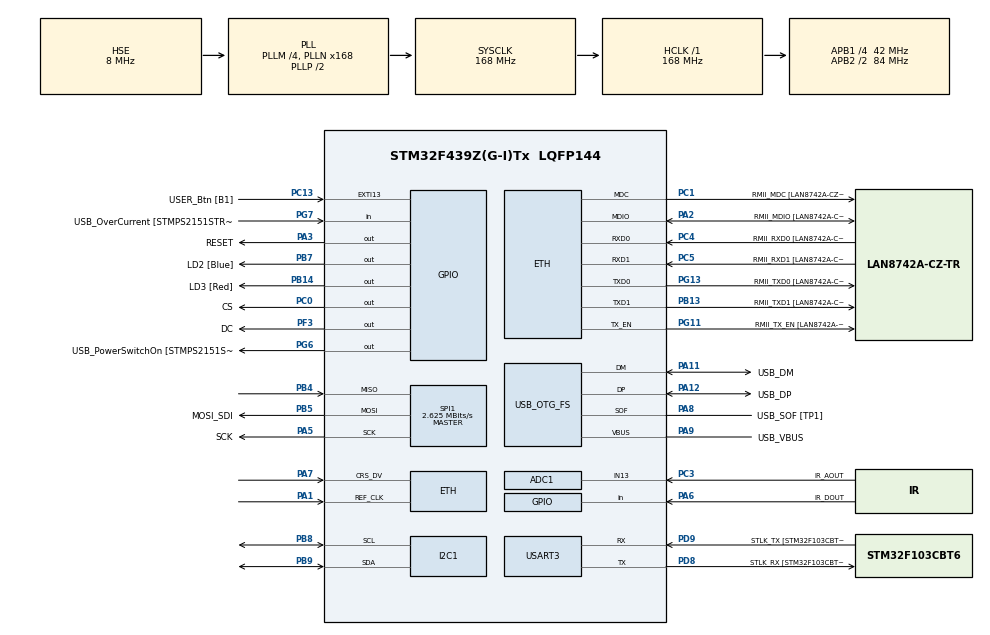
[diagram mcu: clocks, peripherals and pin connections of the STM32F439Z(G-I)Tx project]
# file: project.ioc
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ADC1.Channel-0\#ChannelRegularConversion=ADC_CHANNEL_13
ADC1.NbrOfConversionFlag=1
ADC1.Rank-0\#ChannelRegularConversion=1
ADC1.SamplingTime-0\#ChannelRegularConversion=ADC_SAMPLETIME_3CYCLES
ADC1.master=1
ETH.MediaInterface=HAL_ETH_RMII_MODE
LWIP.BSP.number=1
LWIP.LWIP_DNS=1
LWIP.Version=v2.1.2_Cube
LWIP0.BSP.STBoard=false
LWIP0.BSP.api=BSP_COMPONENT_DRIVER
LWIP0.BSP.component=LAN8742
LWIP0.BSP.instance=LAN8742
LWIP0.BSP.name=Driver_PHY
LWIP0.BSP.semaphore=S_LAN8742
LWIP0.BSP.solution=LAN8742
Mcu.Family=STM32F4
Mcu.Name=STM32F439Z(G-I)Tx
Mcu.Package=LQFP144
NVIC.ETH_IRQn=true\:0\:0\:false\:false\:true\:true\:true\:true
NVIC.I2C1_ER_IRQn=true\:0\:0\:false\:false\:true\:true\:true\:true
NVIC.I2C1_EV_IRQn=true\:0\:0\:false\:false\:true\:true\:true\:true
NVIC.PriorityGroup=NVIC_PRIORITYGROUP_4
PA1.Mode=RMII
PA1.Signal=ETH_REF_CLK
PA10.GPIO_Label=USB_ID
PA10.Signal=USB_OTG_FS_ID
PA11.GPIO_Label=USB_DM
PA11.Mode=Device_Only
PA11.Signal=USB_OTG_FS_DM
PA12.GPIO_Label=USB_DP
PA12.Mode=Device_Only
PA12.Signal=USB_OTG_FS_DP
PA13.GPIO_Label=TMS
PA13.Mode=Serial_Wire
PA13.Signal=SYS_JTMS-SWDIO
PA14.GPIO_Label=TCK
PA14.Mode=Serial_Wire
PA14.Signal=SYS_JTCK-SWCLK
PA2.GPIO_Label=RMII_MDIO [LAN8742A-CZ-TR_MDIO]
PA2.Mode=RMII
PA2.Signal=ETH_MDIO
PA3.GPIO_Label=RESET
PA3.GPIO_Speed=GPIO_SPEED_FREQ_HIGH
PA3.Signal=GPIO_Output
PA5.GPIO_Label=SCK
PA5.Mode=Full_Duplex_Master
PA5.Signal=SPI1_SCK
PA6.GPIO_Label=IR_DOUT
PA6.Signal=GPIO_Input
PA7.Mode=RMII
PA7.Signal=ETH_CRS_DV
PA8.GPIO_Label=USB_SOF [TP1]
PA8.Mode=Activate_SOF_FS
PA8.Signal=USB_OTG_FS_SOF
PA9.GPIO_Label=USB_VBUS
PA9.Mode=Activate_VBUS
PA9.Signal=USB_OTG_FS_VBUS
PB13.GPIO_Label=RMII_TXD1 [LAN8742A-CZ-TR_TXD1]
PB13.Mode=RMII
PB13.Signal=ETH_TXD1
PB14.GPIO_Label=LD3 [Red]
PB14.Signal=GPIO_Output
PB4.Mode=Full_Duplex_Master
PB4.Signal=SPI1_MISO
PB5.GPIO_Label=MOSI_SDI
PB5.Mode=Full_Duplex_Master
PB5.Signal=SPI1_MOSI
PB7.GPIO_Label=LD2 [Blue]
PB7.Signal=GPIO_Output
PB8.Mode=I2C
PB8.Signal=I2C1_SCL
PB9.Mode=I2C
PB9.Signal=I2C1_SDA
PC0.GPIO_Label=CS
PC0.GPIO_Speed=GPIO_SPEED_FREQ_HIGH
PC0.Signal=GPIO_Output
PC1.GPIO_Label=RMII_MDC [LAN8742A-CZ-TR_MDC]
PC1.Mode=RMII
PC1.Signal=ETH_MDC
PC13.GPIO_Label=USER_Btn [B1]
PC13.Signal=GPXTI13
PC14/OSC32_IN.Signal=RCC_OSC32_IN
PC15/OSC32_OUT.Signal=RCC_OSC32_OUT
PC3.GPIO_Label=IR_AOUT
PC3.Signal=ADCx_IN13
PC4.GPIO_Label=RMII_RXD0 [LAN8742A-CZ-TR_RXD0]
PC4.Mode=RMII
PC4.Signal=ETH_RXD0
PC5.GPIO_Label=RMII_RXD1 [LAN8742A-CZ-TR_RXD1]
PC5.Mode=RMII
PC5.Signal=ETH_RXD1
PD8.GPIO_Label=STLK_RX [STM32F103CBT6_PA3]
PD8.Mode=Asynchronous
PD8.Signal=USART3_TX
PD9.GPIO_Label=STLK_TX [STM32F103CBT6_PA2]
PD9.Mode=Asynchronous
PD9.Signal=USART3_RX
PF3.GPIO_Label=DC
PF3.Signal=GPIO_Output
PG11.GPIO_Label=RMII_TX_EN [LAN8742A-CZ-TR_TXEN]
PG11.Mode=RMII
PG11.Signal=ETH_TX_EN
PG13.GPIO_Label=RMII_TXD0 [LAN8742A-CZ-TR_TXD0]
PG13.Mode=RMII
PG13.Signal=ETH_TXD0
PG6.GPIO_Label=USB_PowerSwitchOn [STMPS2151STR_EN]
PG6.Signal=GPIO_Output
PG7.GPIO_Label=USB_OverCurrent [STMPS2151STR_FAULT]
PG7.Signal=GPIO_Input
PH0/OSC_IN.GPIO_Label=MCO [STM32F103CBT6_PA8]
PH0/OSC_IN.Mode=HSE-External-Oscillator
PH0/OSC_IN.Signal=RCC_OSC_IN
PH1/OSC_OUT.Mode=HSE-External-Oscillator
PH1/OSC_OUT.Signal=RCC_OSC_OUT
ProjectManager.HeapSize=0x200
ProjectManager.StackSize=0x400
ProjectManager.TargetToolchain=STM32CubeIDE
RCC.48MHZClocksFreq_Value=48000000
RCC.AHBFreq_Value=168000000
RCC.APB1CLKDivider=RCC_HCLK_DIV4
RCC.APB1Freq_Value=42000000
RCC.APB1TimFreq_Value=84000000
RCC.APB2CLKDivider=RCC_HCLK_DIV2
RCC.APB2Freq_Value=84000000
RCC.APB2TimCLKDivider=2
RCC.APB2TimFreq_Value=168000000
RCC.CortexFreq_Value=168000000
RCC.HCLKFreq_Value=168000000
RCC.HSE_VALUE=8000000
RCC.HSI_VALUE=16000000
RCC.LSE_VALUE=32768
RCC.PLLM=4
RCC.PLLMUL=RCC_PLL_MUL9
RCC.PLLN=168
RCC.PLLQ=7
RCC.PRESCALERUSB=RCC_USBCLKSOURCE_PLL_DIV1_5
RCC.SYSCLKFreq_VALUE=168000000
RCC.SYSCLKSource=RCC_SYSCLKSOURCE_PLLCLK
RCC.SYSCLKSourceVirtual=RCC_SYSCLKSOURCE_PLLCLK
RCC.USBFreq_Value=48000000
RCC.VCOOutputFreq_Value=336000000
SH.ADCx_IN13.0=ADC1_IN13,IN13
SPI1.BaudRatePrescaler=SPI_BAUDRATEPRESCALER_32
SPI1.CalculateBaudRate=2.625 MBits/s
SPI1.Direction=SPI_DIRECTION_2LINES
SPI1.Mode=SPI_MODE_MASTER
SPI1.VirtualType=VM_MASTER
USART3.VirtualMode=VM_ASYNC
USB_OTG_FS.VirtualMode=Device_Only
VP_LWIP_VS_Enabled.Mode=Enabled
board=NUCLEO-F439ZI

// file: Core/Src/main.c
/* USER CODE BEGIN Header */
/**
  ******************************************************************************
  * @file           : main.c
  * @brief          : Main program body
  ******************************************************************************
  * @attention
  *
  * Copyright (c) 2026 STMicroelectronics.
  * All rights reserved.
  *
  * This software is licensed under terms that can be found in the LICENSE file
  * in the root directory of this software component.
  * If no LICENSE file comes with this software, it is provided AS-IS.
  *
  ******************************************************************************
  */
/* USER CODE END Header */
#include "main.h"
#include "adc.h"
#include "i2c.h"
#include "lwip.h"
#include "spi.h"
#include "usart.h"
#include "usb_otg.h"
#include "gpio.h"

/* USER CODE BEGIN Includes */
#include "putchar.h"
#include <stdio.h>
#include <stdlib.h>
#include <string.h>
#include <ctype.h>

#include "lwip.h"
#include "lwip/dhcp.h"
#include "lwip/ip_addr.h"
#include "mqtt_client.h"
#include "bmp180.h"
#include "ili9341.h"
#include "fonts.h"
#include "ili9341_gfx.h"

/* USER CODE END Includes */

/* USER CODE BEGIN PV */
extern UART_HandleTypeDef huart3;

PUTCHAR_PROTOTYPE {
    HAL_UART_Transmit(&huart3, (uint8_t *)&ch, 1, 50);
    return ch;
}

ili9341_t *lcd = NULL;

/* USER CODE END PV */

void SystemClock_Config(void);

int main(void)
{

  /* MCU Configuration--------------------------------------------------------*/

  /* Reset of all peripherals, Initializes the Flash interface and the Systick. */
  HAL_Init();

  /* Configure the system clock */
  SystemClock_Config();

  /* Initialize all configured peripherals */
  MX_GPIO_Init();
  MX_USART3_UART_Init();
  MX_USB_OTG_FS_PCD_Init();
  MX_LWIP_Init();
  MX_I2C1_Init();
  MX_ADC1_Init();
  MX_SPI1_Init();
  /* USER CODE BEGIN 2 */
  mqtt_app_init(&gnetif);
  mqtt_app_start();

  setvbuf(stdout, NULL, _IONBF, 0);

//  dhcp_start(&gnetif); // starts DHCP client
//  for (uint16_t addr = 1; addr < 128; addr++) {
//      if (HAL_I2C_IsDeviceReady(&hi2c1, addr << 1, 2, 100) == HAL_OK) {
//          printf("I2C device found at 0x%02X\r\n", addr);
//      }
//  }
//
//  uint8_t reg = 0xD0;
//  uint8_t chip_id = 0;
//
//  HAL_I2C_Master_Transmit(&hi2c1, BMP180_I2C_ADDR << 1, &reg, 1, 100);
//  HAL_I2C_Master_Receive(&hi2c1, BMP180_I2C_ADDR << 1, &chip_id, 1, 100);
//
//  printf("BMP180 chip id: 0x%02X\r\n", chip_id);

  /* Initializes BMP180 sensor and oversampling settings. */
  BMP180_Init(&hi2c1);
  BMP180_SetOversampling(BMP180_ULTRA);
  /* Update calibration data. Must be called once before entering main loop. */
  BMP180_UpdateCalibrationData();

  /* USER CODE END 2 */

  /* Infinite loop */
  /* USER CODE BEGIN WHILE */
//  printf("ILI9341 init\r\n");

  lcd = ili9341_new(
          &hspi1,
          RESET_GPIO_Port, RESET_Pin,
          CS_GPIO_Port, CS_Pin,
          DC_GPIO_Port, DC_Pin,
          isoPortrait,
          NULL, 0,
          NULL, 0,
          itsNotSupported,
          itnNotNormalized
      );

  // simple fill test using low-level commands
	  ili9341_fill_screen(lcd, ILI9341_WHITE);
	  ili9341_fill_rect(lcd, ILI9341_RED,   0,   0,   10, 10);
	  ili9341_fill_rect(lcd, ILI9341_GREEN, 230, 0,   10, 10);
	  ili9341_fill_rect(lcd, ILI9341_BLUE,  0,   310, 10, 10);
	  ili9341_fill_rect(lcd, ILI9341_BLACK, 230, 310, 10, 10);

     printf("after draw\r\n");
  while (1)
  {
	  MX_LWIP_Process();
	  mqtt_app_process();

	  uint32_t now = HAL_GetTick();

	  static uint32_t last_log = 0;
	  if ((now - last_log) >= 1000U) {
		  last_log = now;
		  printf("IP: %s\r\n", ipaddr_ntoa(&gnetif.ip_addr));
	  }

//	  static uint32_t last_display = 0;
//	  if ((now - last_display) >= 1000U) {
//		  last_display = now;
//
//		  ILI9341_FillRectangle(0, 0, 20, 20, ILI9341_WHITE);
//		  ILI9341_WriteString(10, 10, "Hello STM32", Font_11x18, ILI9341_WHITE, ILI9341_BLACK);
//		  ILI9341_WriteString(10, 35, "ILI9341 works", Font_7x10, ILI9341_YELLOW, ILI9341_BLACK);
//		  ILI9341_DrawPixel(10, 10, ILI9341_WHITE);
//	  }

	  if (gnetif.ip_addr.addr != 0) {
//		  printf("IP address is assigned");
		  static uint32_t last_pub = 0;
		  static uint32_t last_ir_log = 0;

		  if (mqtt_app_is_connected()) {
			  uint32_t now = HAL_GetTick();

			  if ((now - last_pub) >= 5000U) {
				  last_pub = now;
				  /* Reads temperature. */

				  int32_t temperature = BMP180_GetTemperature();
				  int32_t pressure = BMP180_GetPressure();

				  char payload[128];
				  int len = snprintf(payload, sizeof(payload),
				                     "{\"temp_c10\":%ld,\"pressure_pa\":%ld}",
				                     (long)temperature,
				                     (long)pressure);

				  if (len > 0 && len < (int)sizeof(payload)) {
				      err_t err = mqtt_app_publish("SSY/bmp180", payload, (u16_t)len);
				      printf("publish err=%d payload=%s\r\n", (int)err, payload);
				  } else {
				      printf("snprintf failed, len=%d\r\n", len);
				  }
			 }
			  if ((now - last_ir_log) >= 500U) {
			      last_ir_log = now;
			      /* IR sensor */
			      HAL_ADC_Start(&hadc1);
			      HAL_ADC_PollForConversion(&hadc1, 100);
			      // PC3
			      uint32_t adc = HAL_ADC_GetValue(&hadc1);
			      HAL_ADC_Stop(&hadc1);
			      // PA6
			      GPIO_PinState state = HAL_GPIO_ReadPin(GPIOA, GPIO_PIN_6);

			      char payload[128];
			      int len = snprintf(payload, sizeof(payload),
			    		  	  	  	  "{\"detected\":%d,\"adc\":%lu}",
									  (state == GPIO_PIN_SET) ? 1 : 0, adc);

			      if (len > 0 && len < (int)sizeof(payload)) {
					  err_t err = mqtt_app_publish("SSY/ir", payload, (u16_t)len);
					  printf("publish err=%d payload=%s\r\n", (int)err, payload);
				  } else {
					  printf("snprintf failed, len=%d\r\n", len);
				  }
//			      printf("IR ADC=%lu DOUT=%d\r\n", adc, (state == GPIO_PIN_SET) ? 1 : 0);
			  }
		  }

		  if (mqtt_app_rx_ready()) {
			  printf("RX topic=%s, len=%u\r\n", mqtt_app_rx_topic(), mqtt_app_rx_len());
			  mqtt_app_rx_clear();
		  }
	  }

//	  HAL_Delay(1000);
    /* USER CODE END WHILE */

  }
}

void SystemClock_Config(void)
{
  RCC_OscInitTypeDef RCC_OscInitStruct = {0};
  RCC_ClkInitTypeDef RCC_ClkInitStruct = {0};

  /** Configure the main internal regulator output voltage
  */
  __HAL_RCC_PWR_CLK_ENABLE();
  __HAL_PWR_VOLTAGESCALING_CONFIG(PWR_REGULATOR_VOLTAGE_SCALE1);

  /** Initializes the RCC Oscillators according to the specified parameters
  * in the RCC_OscInitTypeDef structure.
  */
  RCC_OscInitStruct.OscillatorType = RCC_OSCILLATORTYPE_HSE;
  RCC_OscInitStruct.HSEState = RCC_HSE_ON;
  RCC_OscInitStruct.PLL.PLLState = RCC_PLL_ON;
  RCC_OscInitStruct.PLL.PLLSource = RCC_PLLSOURCE_HSE;
  RCC_OscInitStruct.PLL.PLLM = 4;
  RCC_OscInitStruct.PLL.PLLN = 168;
  RCC_OscInitStruct.PLL.PLLP = RCC_PLLP_DIV2;
  RCC_OscInitStruct.PLL.PLLQ = 7;
  if (HAL_RCC_OscConfig(&RCC_OscInitStruct) != HAL_OK)
  {
    Error_Handler();
  }

  /** Initializes the CPU, AHB and APB buses clocks
  */
  RCC_ClkInitStruct.ClockType = RCC_CLOCKTYPE_HCLK|RCC_CLOCKTYPE_SYSCLK
                              |RCC_CLOCKTYPE_PCLK1|RCC_CLOCKTYPE_PCLK2;
  RCC_ClkInitStruct.SYSCLKSource = RCC_SYSCLKSOURCE_PLLCLK;
  RCC_ClkInitStruct.AHBCLKDivider = RCC_SYSCLK_DIV1;
  RCC_ClkInitStruct.APB1CLKDivider = RCC_HCLK_DIV4;
  RCC_ClkInitStruct.APB2CLKDivider = RCC_HCLK_DIV2;

  if (HAL_RCC_ClockConfig(&RCC_ClkInitStruct, FLASH_LATENCY_5) != HAL_OK)
  {
    Error_Handler();
  }
}

void Error_Handler(void)
{
  __disable_irq();
  while (1)
  {
  }
}
